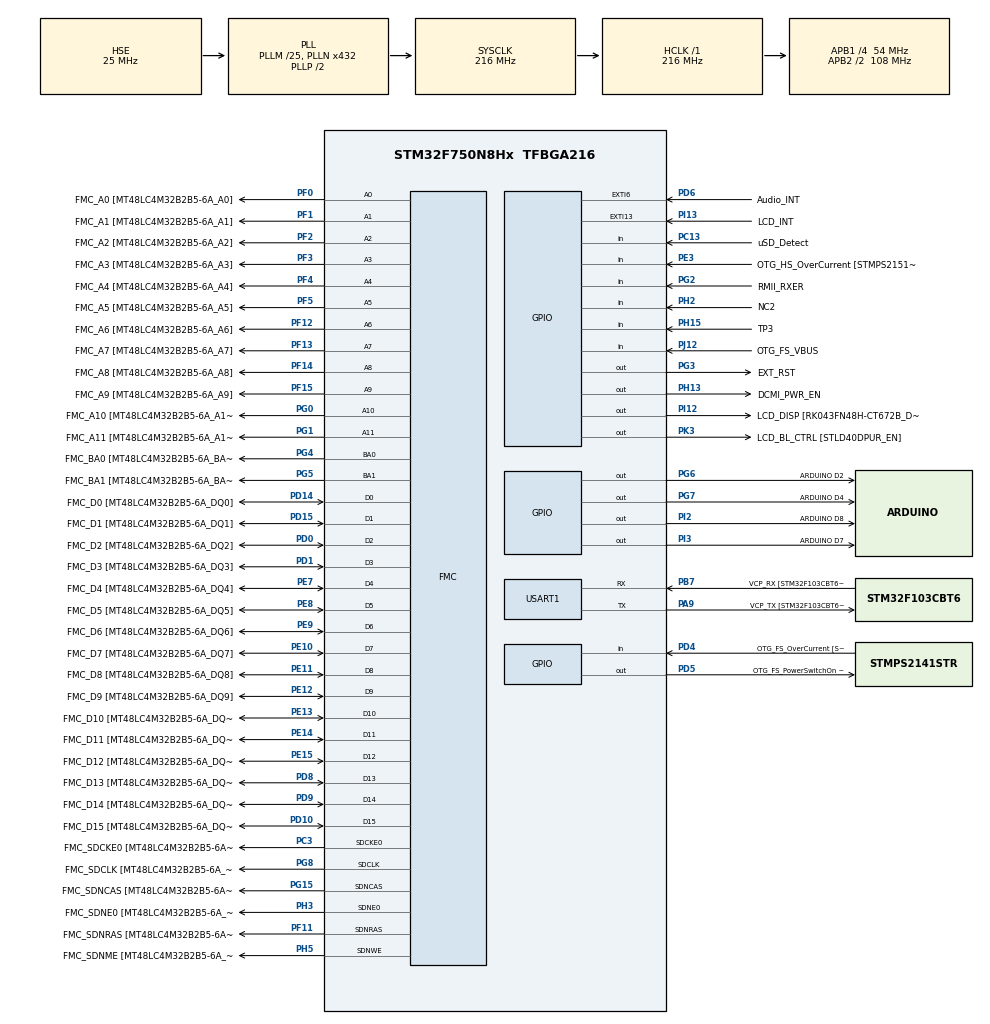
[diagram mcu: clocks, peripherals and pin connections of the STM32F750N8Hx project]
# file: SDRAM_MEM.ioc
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CORTEX_M7.CPU_DCache=Enabled
CORTEX_M7.CPU_ICache=Enabled
FMC.CASLatency1=FMC_SDRAM_CAS_LATENCY_3
FMC.ExitSelfRefreshDelay1=7
FMC.LoadToActiveDelay1=2
FMC.RCDDelay1=2
FMC.RPDelay1=2
FMC.RPDelay2=2
FMC.ReadBurst1=FMC_SDRAM_RBURST_ENABLE
FMC.ReadBurst2=FMC_SDRAM_RBURST_ENABLE
FMC.RowCycleDelay1=7
FMC.RowCycleDelay2=7
FMC.SDClockPeriod1=FMC_SDRAM_CLOCK_PERIOD_2
FMC.SDClockPeriod2=FMC_SDRAM_CLOCK_PERIOD_2
FMC.SelfRefreshTime1=4
FMC.WriteRecoveryTime1=3
Mcu.Family=STM32F7
Mcu.Name=STM32F750N8Hx
Mcu.Package=TFBGA216
NVIC.PriorityGroup=NVIC_PRIORITYGROUP_4
PA0/WKUP.GPIO_Label=ARDUINO A0
PA0/WKUP.GPIO_Mode=GPIO_MODE_ANALOG
PA0/WKUP.GPIO_PuPd=GPIO_NOPULL
PA0/WKUP.Signal=ADCx_IN0
PA1.GPIO_Label=RMII_REF_CLK [LAN8742A-CZ-TR_REFCLK0]
PA1.Signal=ETH_REF_CLK
PA10.GPIO_Label=OTG_FS_ID
PA10.Signal=USB_OTG_FS_ID
PA11.GPIO_Label=OTG_FS_N
PA11.Signal=USB_OTG_FS_DM
PA12.GPIO_Label=OTG_FS_P
PA12.Signal=USB_OTG_FS_DP
PA13.GPIO_Label=SWDIO
PA13.Signal=SYS_JTMS-SWDIO
PA14.GPIO_Label=SWCLK
PA14.Signal=SYS_JTCK-SWCLK
PA15.GPIO_Label=ARDUINO PWM/D9
PA15.GPIO_ModeDefaultPP=GPIO_MODE_AF_PP
PA15.GPIO_PuPd=GPIO_NOPULL
PA15.GPIO_Speed=GPIO_SPEED_FREQ_LOW
PA15.Signal=S_TIM2_CH1_ETR
PA2.GPIO_Label=RMII_MDIO [LAN8742A-CZ-TR_MDIO]
PA2.Signal=ETH_MDIO
PA3.GPIO_Label=ULPI_D0 [USB3320C-EZK_D0]
PA3.Signal=USB_OTG_HS_ULPI_D0
PA4.GPIO_Label=DCMI_HSYNC
PA4.Signal=DCMI_HSYNC
PA5.GPIO_Label=ULPI_CLK [USB3320C-EZK_CLKOUT]
PA5.Signal=USB_OTG_HS_ULPI_CK
PA6.Signal=DCMI_PIXCLK
PA7.GPIO_Label=RMII_CRS_DV [LAN8742A-CZ-TR_CRS_DV]
PA7.Signal=ETH_CRS_DV
PA8.GPIO_Label=ARDUINO PWM/D10
PA8.GPIO_ModeDefaultPP=GPIO_MODE_AF_PP
PA8.GPIO_PuPd=GPIO_NOPULL
PA8.GPIO_Speed=GPIO_SPEED_FREQ_LOW
PA8.Signal=S_TIM1_CH1
PA9.GPIO_Label=VCP_TX [STM32F103CBT6_PA3]
PA9.GPIO_PuPd=GPIO_NOPULL
PA9.GPIO_Speed=GPIO_SPEED_FREQ_LOW
PA9.Mode=Asynchronous
PA9.Signal=USART1_TX
PB0.GPIO_Label=ULPI_D1 [USB3320C-EZK_D1]
PB0.Signal=USB_OTG_HS_ULPI_D1
PB1.GPIO_Label=ULPI_D2 [USB3320C-EZK_D2]
PB1.Signal=USB_OTG_HS_ULPI_D2
PB10.GPIO_Label=ULPI_D3 [USB3320C-EZK_D3]
PB10.Signal=USB_OTG_HS_ULPI_D3
PB11.GPIO_Label=ULPI_D4 [USB3320C-EZK_D4]
PB11.Signal=USB_OTG_HS_ULPI_D4
PB12.GPIO_Label=ULPI_D5 [USB3320C-EZK_D5]
PB12.Signal=USB_OTG_HS_ULPI_D5
PB13.GPIO_Label=ULPI_D6 [USB3320C-EZK_D6]
PB13.Signal=USB_OTG_HS_ULPI_D6
PB14.GPIO_Label=ARDUINO MISO/D12
PB14.GPIO_Mode=GPIO_MODE_AF_PP
PB14.GPIO_PuPd=GPIO_NOPULL
PB14.GPIO_Speed=GPIO_SPEED_FREQ_LOW
PB14.Signal=SPI2_MISO
PB15.GPIO_Label=ARDUINO MOSI/PWM/D11
PB15.GPIO_Mode=GPIO_MODE_AF_PP
PB15.GPIO_PuPd=GPIO_NOPULL
PB15.GPIO_Speed=GPIO_SPEED_FREQ_LOW
PB15.Signal=SPI2_MOSI
PB2.Signal=QUADSPI_CLK
PB3.GPIO_Label=SWO
PB3.Signal=SYS_JTDO-SWO
PB4.GPIO_Label=ARDUINO PWM/D3
PB4.GPIO_ModeDefaultPP=GPIO_MODE_AF_PP
PB4.GPIO_PuPd=GPIO_NOPULL
PB4.GPIO_Speed=GPIO_SPEED_FREQ_LOW
PB4.Signal=S_TIM3_CH1
PB5.GPIO_Label=ULPI_D7 [USB3320C-EZK_D7]
PB5.Signal=USB_OTG_HS_ULPI_D7
PB6.GPIO_Label=QSPI_NCS [N25Q128A13EF840E_S]
PB6.Signal=QUADSPI_BK1_NCS
PB7.GPIO_Label=VCP_RX [STM32F103CBT6_PA2]
PB7.GPIO_PuPd=GPIO_NOPULL
PB7.GPIO_Speed=GPIO_SPEED_FREQ_LOW
PB7.Mode=Asynchronous
PB7.Signal=USART1_RX
PB8.GPIO_Label=ARDUINO SCL/D15
PB8.GPIO_Mode=GPIO_MODE_AF_OD
PB8.GPIO_Speed=GPIO_SPEED_FREQ_LOW
PB8.Signal=I2C1_SCL
PB9.GPIO_Label=ARDUINO SDA/D14
PB9.GPIO_Mode=GPIO_MODE_AF_OD
PB9.GPIO_Speed=GPIO_SPEED_FREQ_LOW
PB9.Signal=I2C1_SDA
PC0.GPIO_Label=ULPI_STP [USB3320C-EZK_STP]
PC0.Signal=USB_OTG_HS_ULPI_STP
PC1.GPIO_Label=RMII_MDC [LAN8742A-CZ-TR_MDC]
PC1.Signal=ETH_MDC
PC10.GPIO_Label=SDMMC_D2
PC10.Signal=SDMMC1_D2
PC11.GPIO_Label=SDMMC_D3
PC11.Signal=SDMMC1_D3
PC12.GPIO_Label=SDMMC_CK
PC12.Signal=SDMMC1_CK
PC13.GPIO_Label=uSD_Detect
PC13.Signal=GPIO_Input
PC14/OSC32_IN.GPIO_Label=RCC_OSC32_IN
PC14/OSC32_IN.Signal=RCC_OSC32_IN
PC15/OSC32_OUT.GPIO_Label=RCC_OSC32_OUT
PC15/OSC32_OUT.Signal=RCC_OSC32_OUT
PC2.GPIO_Label=ULPI_DIR [USB3320C-EZK_DIR]
PC2.Signal=USB_OTG_HS_ULPI_DIR
PC3.GPIO_Label=FMC_SDCKE0 [MT48LC4M32B2B5-6A_CKE]
PC3.Mode=SdramChipSelect1_1
PC3.Signal=FMC_SDCKE0
PC4.GPIO_Label=RMII_RXD0 [LAN8742A-CZ-TR_RXD0]
PC4.Signal=ETH_RXD0
PC5.GPIO_Label=RMII_RXD1 [LAN8742A-CZ-TR_RXD1]
PC5.Signal=ETH_RXD1
PC6.GPIO_Label=ARDUINO TX/D1
PC6.Signal=USART6_TX
PC7.GPIO_Label=ARDUINO RX/D0
PC7.Signal=USART6_RX
PC8.Signal=SDMMC1_D0
PC9.Signal=SDMMC1_D1
PD0.GPIO_Label=FMC_D2 [MT48LC4M32B2B5-6A_DQ2]
PD0.Signal=FMC_D2_DA2
PD1.GPIO_Label=FMC_D3 [MT48LC4M32B2B5-6A_DQ3]
PD1.Signal=FMC_D3_DA3
PD10.GPIO_Label=FMC_D15 [MT48LC4M32B2B5-6A_DQ15]
PD10.Signal=FMC_D15_DA15
PD11.GPIO_Label=QSPI_D0 [N25Q128A13EF840E_DQ0]
PD11.Signal=QUADSPI_BK1_IO0
PD12.GPIO_Label=QSPI_D1 [N25Q128A13EF840E_DQ1]
PD12.Signal=QUADSPI_BK1_IO1
PD13.GPIO_Label=QSPI_D3 [N25Q128A13EF840E_DQ3]
PD13.Signal=QUADSPI_BK1_IO3
PD14.GPIO_Label=FMC_D0 [MT48LC4M32B2B5-6A_DQ0]
PD14.Signal=FMC_D0_DA0
PD15.GPIO_Label=FMC_D1 [MT48LC4M32B2B5-6A_DQ1]
PD15.Signal=FMC_D1_DA1
PD2.GPIO_Label=SDMMC_D0
PD2.Signal=SDMMC1_CMD
PD3.GPIO_Label=DCMI_D5
PD3.Signal=DCMI_D5
PD4.GPIO_Label=OTG_FS_OverCurrent [STMPS2141STR_Fault]
PD4.Signal=GPIO_Input
PD5.GPIO_Label=OTG_FS_PowerSwitchOn [STMPS2141STR_EN]
PD5.PinState=GPIO_PIN_SET
PD5.Signal=GPIO_Output
PD6.GPIO_Label=Audio_INT
PD6.GPIO_ModeDefaultEXTI=GPIO_MODE_EVT_RISING
PD6.Signal=GPXTI6
PD7.GPIO_Label=SPDIF_RX0 [74LVC1G04SE_4]
PD7.Signal=SPDIFRX_IN0
PD8.GPIO_Label=FMC_D13 [MT48LC4M32B2B5-6A_DQ13]
PD8.Signal=FMC_D13_DA13
PD9.GPIO_Label=FMC_D14 [MT48LC4M32B2B5-6A_DQ14]
PD9.Signal=FMC_D14_DA14
PE0.GPIO_Label=FMC_NBL0 [MT48LC4M32B2B5-6A_DQM0]
PE0.Signal=FMC_NBL0
PE1.GPIO_Label=FMC_NBL1 [MT48LC4M32B2B5-6A_DQM1]
PE1.Signal=FMC_NBL1
PE10.GPIO_Label=FMC_D7 [MT48LC4M32B2B5-6A_DQ7]
PE10.Signal=FMC_D7_DA7
PE11.GPIO_Label=FMC_D8 [MT48LC4M32B2B5-6A_DQ8]
PE11.Signal=FMC_D8_DA8
PE12.GPIO_Label=FMC_D9 [MT48LC4M32B2B5-6A_DQ9]
PE12.Signal=FMC_D9_DA9
PE13.GPIO_Label=FMC_D10 [MT48LC4M32B2B5-6A_DQ10]
PE13.Signal=FMC_D10_DA10
PE14.GPIO_Label=FMC_D11 [MT48LC4M32B2B5-6A_DQ11]
PE14.Signal=FMC_D11_DA11
PE15.GPIO_Label=FMC_D12 [MT48LC4M32B2B5-6A_DQ12]
PE15.Signal=FMC_D12_DA12
PE2.GPIO_Label=QSPI_D2 [N25Q128A13EF840E_DQ2]
PE2.Signal=QUADSPI_BK1_IO2
PE3.GPIO_Label=OTG_HS_OverCurrent [STMPS2151STR_FAULT]
PE3.Signal=GPIO_Input
PE4.GPIO_Label=LCD_B0 [RK043FN48H-CT672B_B0]
PE4.Signal=LTDC_B0
PE5.GPIO_Label=DCMI_D6
PE5.Signal=DCMI_D6
PE6.GPIO_Label=DCMI_D7
PE6.Signal=DCMI_D7
PE7.GPIO_Label=FMC_D4 [MT48LC4M32B2B5-6A_DQ4]
PE7.Signal=FMC_D4_DA4
PE8.GPIO_Label=FMC_D5 [MT48LC4M32B2B5-6A_DQ5]
PE8.Signal=FMC_D5_DA5
PE9.GPIO_Label=FMC_D6 [MT48LC4M32B2B5-6A_DQ6]
PE9.Signal=FMC_D6_DA6
PF0.GPIO_Label=FMC_A0 [MT48LC4M32B2B5-6A_A0]
PF0.Signal=FMC_A0
PF1.GPIO_Label=FMC_A1 [MT48LC4M32B2B5-6A_A1]
PF1.Signal=FMC_A1
PF10.GPIO_Label=ARDUINO A1
PF10.GPIO_Mode=GPIO_MODE_ANALOG
PF10.GPIO_PuPd=GPIO_NOPULL
PF10.Signal=ADC3_IN8
PF11.GPIO_Label=FMC_SDNRAS [MT48LC4M32B2B5-6A_RAS]
PF11.Signal=FMC_SDNRAS
PF12.GPIO_Label=FMC_A6 [MT48LC4M32B2B5-6A_A6]
PF12.Signal=FMC_A6
PF13.GPIO_Label=FMC_A7 [MT48LC4M32B2B5-6A_A7]
PF13.Signal=FMC_A7
PF14.GPIO_Label=FMC_A8 [MT48LC4M32B2B5-6A_A8]
PF14.Signal=FMC_A8
PF15.GPIO_Label=FMC_A9 [MT48LC4M32B2B5-6A_A9]
PF15.Signal=FMC_A9
PF2.GPIO_Label=FMC_A2 [MT48LC4M32B2B5-6A_A2]
PF2.Signal=FMC_A2
PF3.GPIO_Label=FMC_A3 [MT48LC4M32B2B5-6A_A3]
PF3.Signal=FMC_A3
PF4.GPIO_Label=FMC_A4 [MT48LC4M32B2B5-6A_A4]
PF4.Signal=FMC_A4
PF5.GPIO_Label=FMC_A5 [MT48LC4M32B2B5-6A_A5]
PF5.Signal=FMC_A5
PF6.GPIO_Label=ARDUINO A5
PF6.GPIO_Mode=GPIO_MODE_ANALOG
PF6.GPIO_PuPd=GPIO_NOPULL
PF6.Signal=ADC3_IN4
PF7.GPIO_Label=ARDUINO A4
PF7.GPIO_Mode=GPIO_MODE_ANALOG
PF7.GPIO_PuPd=GPIO_NOPULL
PF7.Signal=ADC3_IN5
PF8.GPIO_Label=ARDUINO A3
PF8.GPIO_Mode=GPIO_MODE_ANALOG
PF8.GPIO_PuPd=GPIO_NOPULL
PF8.Signal=ADC3_IN6
PF9.GPIO_Label=ARDUINO A2
PF9.GPIO_Mode=GPIO_MODE_ANALOG
PF9.GPIO_PuPd=GPIO_NOPULL
PF9.Signal=ADC3_IN7
PG0.GPIO_Label=FMC_A10 [MT48LC4M32B2B5-6A_A10]
PG0.Signal=FMC_A10
PG1.GPIO_Label=FMC_A11 [MT48LC4M32B2B5-6A_A11]
PG1.Signal=FMC_A11
PG10.GPIO_Label=SAI2_SDB [WM8994ECS/R_ADCDAT1]
PG10.Signal=SAI2_SD_B
PG11.GPIO_Label=RMII_TX_EN [LAN8742A-CZ-TR_TXEN]
PG11.Signal=ETH_TX_EN
PG12.GPIO_Label=LCD_B4 [RK043FN48H-CT672B_B4]
PG12.Signal=LTDC_B4
PG13.GPIO_Label=RMII_TXD0 [LAN8742A-CZ-TR_TXD0]
PG13.Signal=ETH_TXD0
PG14.GPIO_Label=RMII_TXD1 [LAN8742A-CZ-TR_TXD1]
PG14.Signal=ETH_TXD1
PG15.GPIO_Label=FMC_SDNCAS [MT48LC4M32B2B5-6A_CAS]
PG15.Signal=FMC_SDNCAS
PG2.GPIO_Label=RMII_RXER
PG2.Signal=GPIO_Input
PG3.GPIO_Label=EXT_RST
PG3.Signal=GPIO_Output
PG4.GPIO_Label=FMC_BA0 [MT48LC4M32B2B5-6A_BA0]
PG4.Signal=FMC_A14_BA0
PG5.GPIO_Label=FMC_BA1 [MT48LC4M32B2B5-6A_BA1]
PG5.Signal=FMC_A15_BA1
PG6.GPIO_Label=ARDUINO D2
PG6.Signal=GPIO_Output
PG7.GPIO_Label=ARDUINO D4
PG7.Signal=GPIO_Output
PG8.GPIO_Label=FMC_SDCLK [MT48LC4M32B2B5-6A_CLK]
PG8.Signal=FMC_SDCLK
PG9.GPIO_Label=DCMI_VSYNC
PG9.Signal=DCMI_VSYNC
PH0/OSC_IN.GPIO_Label=OSC_25M [NZ2520SB-25.00M_OUT]
PH0/OSC_IN.Mode=HSE-External-Oscillator
PH0/OSC_IN.Signal=RCC_OSC_IN
PH1/OSC_OUT.Mode=HSE-External-Oscillator
PH1/OSC_OUT.Signal=RCC_OSC_OUT
PH10.GPIO_Label=DCMI_D1
PH10.Signal=DCMI_D1
PH11.GPIO_Label=DCMI_D2
PH11.Signal=DCMI_D2
PH12.GPIO_Label=DCMI_D3
PH12.Signal=DCMI_D3
PH13.GPIO_Label=DCMI_PWR_EN
PH13.Signal=GPIO_Output
PH14.GPIO_Label=DCMI_D4
PH14.Signal=DCMI_D4
PH15.GPIO_Label=TP3
PH15.Signal=GPIO_Input
PH2.GPIO_Label=NC2
PH2.Signal=GPIO_Input
PH3.GPIO_Label=FMC_SDNE0 [MT48LC4M32B2B5-6A_CS]
PH3.Mode=SdramChipSelect1_1
PH3.Signal=FMC_SDNE0
PH4.GPIO_Label=ULPI_NXT [USB3320C-EZK_NXT]
PH4.Signal=USB_OTG_HS_ULPI_NXT
PH5.GPIO_Label=FMC_SDNME [MT48LC4M32B2B5-6A_WE]
PH5.Signal=FMC_SDNWE
PH6.GPIO_Label=ARDUINO PWM/D6
PH6.Signal=S_TIM12_CH1
PH7.GPIO_Label=LCD_SCL [RK043FN48H-CT672B_SCL]
PH7.Signal=I2C3_SCL
PH8.GPIO_Label=LCD_SDA [RK043FN48H-CT672B_SDA]
PH8.Signal=I2C3_SDA
PH9.GPIO_Label=DCMI_D0
PH9.Signal=DCMI_D0
PI0.GPIO_Label=ARDUINO PWM/CS/D5
PI0.GPIO_ModeDefaultPP=GPIO_MODE_AF_PP
PI0.GPIO_PuPd=GPIO_NOPULL
PI0.GPIO_Speed=GPIO_SPEED_FREQ_LOW
PI0.Signal=S_TIM5_CH4
PI1.GPIO_Label=ARDUINO SCK/D13
PI1.GPIO_Mode=GPIO_MODE_AF_PP
PI1.GPIO_PuPd=GPIO_NOPULL
PI1.GPIO_Speed=GPIO_SPEED_FREQ_LOW
PI1.Signal=SPI2_SCK
PI10.GPIO_Label=LCD_HSYNC [RK043FN48H-CT672B_HSYNC]
PI10.Signal=LTDC_HSYNC
PI12.GPIO_Label=LCD_DISP [RK043FN48H-CT672B_DISP] 
PI12.Signal=GPIO_Output
PI13.GPIO_Label=LCD_INT
PI13.GPIO_ModeDefaultEXTI=GPIO_MODE_EVT_RISING
PI13.Signal=GPXTI13
PI14.GPIO_Label=LCD_CLK [RK043FN48H-CT672B_CLK]
PI14.Signal=LTDC_CLK
PI15.GPIO_Label=LCD_R0 [RK043FN48H-CT672B_R0]
PI15.Signal=LTDC_R0
PI2.GPIO_Label=ARDUINO D8
PI2.Signal=GPIO_Output
PI3.GPIO_Label=ARDUINO D7
PI3.Signal=GPIO_Output
PI4.GPIO_Label=SAI2_MCLKA [WM8994ECS/R_MCLK1]
PI4.Signal=SAI2_MCLK_A
PI5.GPIO_Label=SAI2_SCKA [WM8994ECS/R_BCLK1]
PI5.Signal=SAI2_SCK_A
PI6.GPIO_Label=SAI2_SDA [WM8994ECS/R_DACDAT1]
PI6.Signal=SAI2_SD_A
PI7.GPIO_Label=SAI2_FSA [WM8994ECS/R_LRCLK1]
PI7.Signal=SAI2_FS_A
PI8.GPIO_Label=NC1 [TP2]
PI8.Signal=RTC_TS
PI9.GPIO_Label=LCD_VSYNC [RK043FN48H-CT672B_VSYNC]
PI9.Signal=LTDC_VSYNC
PJ0.GPIO_Label=LCD_R1 [RK043FN48H-CT672B_R1]
PJ0.Signal=LTDC_R1
PJ1.GPIO_Label=LCD_R2 [RK043FN48H-CT672B_R2]
PJ1.Signal=LTDC_R2
PJ10.GPIO_Label=LCD_G3 [RK043FN48H-CT672B_G3]
PJ10.Signal=LTDC_G3
PJ11.GPIO_Label=LCD_G4 [RK043FN48H-CT672B_G4]
PJ11.Signal=LTDC_G4
PJ12.GPIO_Label=OTG_FS_VBUS
PJ12.Signal=GPIO_Input
PJ13.GPIO_Label=LCD_B1 [RK043FN48H-CT672B_B1]
PJ13.Signal=LTDC_B1
PJ14.GPIO_Label=LCD_B2 [RK043FN48H-CT672B_B2]
PJ14.Signal=LTDC_B2
PJ15.GPIO_Label=LCD_B3 [RK043FN48H-CT672B_B3]
PJ15.Signal=LTDC_B3
PJ2.GPIO_Label=LCD_R3 [RK043FN48H-CT672B_R3]
PJ2.Signal=LTDC_R3
PJ3.GPIO_Label=LCD_R4 [RK043FN48H-CT672B_R4]
PJ3.Signal=LTDC_R4
PJ4.GPIO_Label=LCD_R5 [RK043FN48H-CT672B_R5]
PJ4.Signal=LTDC_R5
PJ5.GPIO_Label=LCD_R6 [RK043FN48H-CT672B_R6]
PJ5.Signal=LTDC_R6
PJ6.GPIO_Label=LCD_R7 [RK043FN48H-CT672B_R7]
PJ6.Signal=LTDC_R7
PJ7.GPIO_Label=LCD_G0 [RK043FN48H-CT672B_G0]
PJ7.Signal=LTDC_G0
PJ8.GPIO_Label=LCD_G1 [RK043FN48H-CT672B_G1]
PJ8.Signal=LTDC_G1
PJ9.GPIO_Label=LCD_G2 [RK043FN48H-CT672B_G2]
PJ9.Signal=LTDC_G2
PK0.GPIO_Label=LCD_G5 [RK043FN48H-CT672B_G5]
PK0.Signal=LTDC_G5
PK1.GPIO_Label=LCD_G6 [RK043FN48H-CT672B_G6]
PK1.Signal=LTDC_G6
PK2.GPIO_Label=LCD_G7 [RK043FN48H-CT672B_G7]
PK2.Signal=LTDC_G7
PK3.GPIO_Label=LCD_BL_CTRL [STLD40DPUR_EN]
PK3.Signal=GPIO_Output
PK4.GPIO_Label=LCD_B5 [RK043FN48H-CT672B_B5]
PK4.Signal=LTDC_B5
PK5.GPIO_Label=LCD_B6 [RK043FN48H-CT672B_B6]
PK5.Signal=LTDC_B6
PK6.GPIO_Label=LCD_B7 [RK043FN48H-CT672B_B7]
PK6.Signal=LTDC_B7
PK7.GPIO_Label=LCD_DE [RK043FN48H-CT672B_DE]
PK7.Signal=LTDC_DE
ProjectManager.HeapSize=0x200
ProjectManager.StackSize=0x400
ProjectManager.TargetToolchain=STM32CubeIDE
RCC.AHBFreq_Value=216000000
RCC.APB1CLKDivider=RCC_HCLK_DIV4
RCC.APB1Freq_Value=54000000
RCC.APB1TimFreq_Value=108000000
RCC.APB2CLKDivider=RCC_HCLK_DIV2
RCC.APB2Freq_Value=108000000
RCC.APB2TimFreq_Value=216000000
RCC.CortexFreq_Value=216000000
RCC.FLatency=FLASH_LATENCY_7
RCC.HCLKFreq_Value=216000000
RCC.HSE_VALUE=25000000
RCC.HSI_VALUE=16000000
RCC.LSE_VALUE=32768
RCC.PLLM=25
RCC.PLLN=432
RCC.PLLSourceVirtual=RCC_PLLSOURCE_HSE
RCC.PWR_Regulator_Voltage_Scale=PWR_REGULATOR_VOLTAGE_SCALE1
RCC.SYSCLKFreq_VALUE=216000000
RCC.SYSCLKSource=RCC_SYSCLKSOURCE_PLLCLK
RCC.USBFreq_Value=216000000
RCC.VCOOutputFreq_Value=432000000
SH.ADCx_IN0.0=ADC3_IN0
SH.FMC_A0.0=FMC_A0,12b-sda1
SH.FMC_A1.0=FMC_A1,12b-sda1
SH.FMC_A10.0=FMC_A10,12b-sda1
SH.FMC_A11.0=FMC_A11,12b-sda1
SH.FMC_A14_BA0.0=FMC_BA0,FourSdramBanks1
SH.FMC_A15_BA1.0=FMC_BA1,FourSdramBanks1
SH.FMC_A2.0=FMC_A2,12b-sda1
SH.FMC_A3.0=FMC_A3,12b-sda1
SH.FMC_A4.0=FMC_A4,12b-sda1
SH.FMC_A5.0=FMC_A5,12b-sda1
SH.FMC_A6.0=FMC_A6,12b-sda1
SH.FMC_A7.0=FMC_A7,12b-sda1
SH.FMC_A8.0=FMC_A8,12b-sda1
SH.FMC_A9.0=FMC_A9,12b-sda1
SH.FMC_D0_DA0.0=FMC_D0,sd-16b-d1
SH.FMC_D10_DA10.0=FMC_D10,sd-16b-d1
SH.FMC_D11_DA11.0=FMC_D11,sd-16b-d1
SH.FMC_D12_DA12.0=FMC_D12,sd-16b-d1
SH.FMC_D13_DA13.0=FMC_D13,sd-16b-d1
SH.FMC_D14_DA14.0=FMC_D14,sd-16b-d1
SH.FMC_D15_DA15.0=FMC_D15,sd-16b-d1
SH.FMC_D1_DA1.0=FMC_D1,sd-16b-d1
SH.FMC_D2_DA2.0=FMC_D2,sd-16b-d1
SH.FMC_D3_DA3.0=FMC_D3,sd-16b-d1
SH.FMC_D4_DA4.0=FMC_D4,sd-16b-d1
SH.FMC_D5_DA5.0=FMC_D5,sd-16b-d1
SH.FMC_D6_DA6.0=FMC_D6,sd-16b-d1
SH.FMC_D7_DA7.0=FMC_D7,sd-16b-d1
SH.FMC_D8_DA8.0=FMC_D8,sd-16b-d1
SH.FMC_D9_DA9.0=FMC_D9,sd-16b-d1
SH.FMC_NBL0.0=FMC_NBL0
SH.FMC_NBL1.0=FMC_NBL1
SH.FMC_SDCLK.0=FMC_SDCLK,12b-sda1
SH.FMC_SDNCAS.0=FMC_SDNCAS,12b-sda1
SH.FMC_SDNRAS.0=FMC_SDNRAS,12b-sda1
SH.FMC_SDNWE.0=FMC_SDNWE,12b-sda1
SH.S_TIM12_CH1.0=TIM12_CH1
SH.S_TIM1_CH1.0=TIM1_CH1
SH.S_TIM2_CH1_ETR.0=TIM2_CH1
SH.S_TIM3_CH1.0=TIM3_CH1
SH.S_TIM5_CH4.0=TIM5_CH4
USART1.VirtualMode-Asynchronous=VM_ASYNC
board=STM32F7508-DK

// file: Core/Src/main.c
/* USER CODE END Header */
/* USER CODE BEGIN Includes */
#include "main.h"
#include "mt48lc4m32b2.h"
#include "string.h"
/* USER CODE END Includes */

SDRAM_HandleTypeDef hsdram1;
UART_HandleTypeDef huart1;

void SystemClock_Config(void);
static void MX_GPIO_Init(void);
static void MX_FMC_Init(void);
static void MX_USART1_UART_Init(void);

/* USER CODE BEGIN PFP */
int _write(int file, char *ptr, int len);

/* USER CODE END PFP */

/* USER CODE BEGIN 0 */
int _write(int file, char *ptr, int len)
{
	HAL_UART_Transmit(&huart1, ptr, len * sizeof(char), HAL_MAX_DELAY);
	return len;
}

/* USER CODE BEGIN PFP */

/* USER CODE END PFP */

/* Private user code ---------------------------------------------------------*/
/* USER CODE BEGIN 0 */
#define EXT_RAM_SECTION __attribute__((section(".external_ram")))
EXT_RAM_SECTION uint32_t extRamBuffer[1024*1024*2];
#define NUM_BUFFER (0x1000000/(BUFFER_SIZE*4))//16MB
#define SDRAM_ADD 0xC0000000
#define BUFFER_SIZE ((uint32_t)0x1000)

uint32_t wdata[BUFFER_SIZE];
uint32_t rdata[BUFFER_SIZE];
uint32_t buffer[BUFFER_SIZE];

//Static variables
__IO uint32_t uwWriteReadStatus=0;

//counter index;
uint32_t uwIndex=0;
uint32_t ptr=0;

static void Fill_Buffer(uint32_t *pBuffer,uint32_t uwBufferLength,uint32_t uwOffeset);
/* USER CODE END 0 */

int main(void)
{
	/* Enable I-Cache---------------------------------------------------------*/
	SCB_EnableICache();

	/* Enable D-Cache---------------------------------------------------------*/
	SCB_EnableDCache();

	/* MCU Configuration--------------------------------------------------------*/

	/* Reset of all peripherals, Initializes the Flash interface and the Systick. */
	HAL_Init();

	/* Configure the system clock */
	SystemClock_Config();

	/* Initialize all configured peripherals */
	MX_GPIO_Init();
	MX_FMC_Init();
	MX_USART1_UART_Init();
	printf("SDRAM TEST Demo...\r\n");
	/* USER CODE BEGIN 2 */
	Fill_Buffer(wdata,BUFFER_SIZE,0);
	printf(" buffer size %x\r\n", BUFFER_SIZE);
	printf(" No. of buffers to write 200\r\n");
	for(int i=0; i <0x250;i++)
	{
	  for(uwIndex=0;uwIndex < BUFFER_SIZE;uwIndex++)
	  {
		  extRamBuffer[i*BUFFER_SIZE+uwIndex]=wdata[uwIndex];
		 //printf("Memory write %x\r\n", uwIndex);
	  }
	  for(uwIndex=0;uwIndex < BUFFER_SIZE;uwIndex++)
	  {
		  rdata[uwIndex]= extRamBuffer[i*BUFFER_SIZE+uwIndex];
	 	 // printf("Memory read  %x\r\n at %x", &rdata[uwIndex],i);
		  buffer[uwIndex] = uwIndex % 256;
		  int error = 0;
		  if (buffer[uwIndex] != (uwIndex % 256))
		  {
			  error = 1;
			  break;
		  }
		  if (error)
		  {
			  printf("Memory Read Error at %x\r\n", uwIndex);
		  }
		  else{
			  printf("Completed\r\n" );
		  }

	  }

	}

	while (1)
	{

	}

	 /*for(int i=0;i <NUM_BUFFER;i++)
	{

		  for(uwIndex=0;uwIndex < BUFFER_SIZE;uwIndex++)

	  	  {

		 // extRamBuffer[i*BUFFER_SIZE+uwIndex]=wdata[uwIndex];

	      }

	  //READ DATA FROM SDARM MEMORY
		 for(uwIndex=0;uwIndex < BUFFER_SIZE;uwIndex++)
	   	  {
		   rdata[uwIndex]= extRamBuffer[i*BUFFER_SIZE+uwIndex];

	   	  }

	   	   	      		//checking data integrity
	   for(uwIndex=0;(uwIndex < BUFFER_SIZE) && uwWriteReadStatus==0;uwIndex++)
	   	  {
	   	   if(rdata[uwIndex]!=wdata[uwIndex])
	   	   	 {
	   	   	  uwWriteReadStatus++;
	   	   	 }

	   	  }

	}*/
}

static void Fill_Buffer(uint32_t *pBuffer,uint32_t uwBufferLength,uint32_t uwOffset){
	uint32_t tmpIndex=0;
	for(tmpIndex=0;tmpIndex < uwBufferLength;tmpIndex++)
	{
		pBuffer[tmpIndex]=tmpIndex+uwOffset;
	}
}

void SystemClock_Config(void)
{
  RCC_OscInitTypeDef RCC_OscInitStruct = {0};
  RCC_ClkInitTypeDef RCC_ClkInitStruct = {0};

  /** Configure the main internal regulator output voltage
  */
  __HAL_RCC_PWR_CLK_ENABLE();
  __HAL_PWR_VOLTAGESCALING_CONFIG(PWR_REGULATOR_VOLTAGE_SCALE1);
  /** Initializes the RCC Oscillators according to the specified parameters
  * in the RCC_OscInitTypeDef structure.
  */
  RCC_OscInitStruct.OscillatorType = RCC_OSCILLATORTYPE_HSE;
  RCC_OscInitStruct.HSEState = RCC_HSE_ON;
  RCC_OscInitStruct.PLL.PLLState = RCC_PLL_ON;
  RCC_OscInitStruct.PLL.PLLSource = RCC_PLLSOURCE_HSE;
  RCC_OscInitStruct.PLL.PLLM = 25;
  RCC_OscInitStruct.PLL.PLLN = 432;
  RCC_OscInitStruct.PLL.PLLP = RCC_PLLP_DIV2;
  RCC_OscInitStruct.PLL.PLLQ = 2;
  if (HAL_RCC_OscConfig(&RCC_OscInitStruct) != HAL_OK)
  {
    Error_Handler();
  }
  /** Activate the Over-Drive mode
  */
  if (HAL_PWREx_EnableOverDrive() != HAL_OK)
  {
    Error_Handler();
  }
  /** Initializes the CPU, AHB and APB buses clocks
  */
  RCC_ClkInitStruct.ClockType = RCC_CLOCKTYPE_HCLK|RCC_CLOCKTYPE_SYSCLK
                              |RCC_CLOCKTYPE_PCLK1|RCC_CLOCKTYPE_PCLK2;
  RCC_ClkInitStruct.SYSCLKSource = RCC_SYSCLKSOURCE_PLLCLK;
  RCC_ClkInitStruct.AHBCLKDivider = RCC_SYSCLK_DIV1;
  RCC_ClkInitStruct.APB1CLKDivider = RCC_HCLK_DIV4;
  RCC_ClkInitStruct.APB2CLKDivider = RCC_HCLK_DIV2;

  if (HAL_RCC_ClockConfig(&RCC_ClkInitStruct, FLASH_LATENCY_7) != HAL_OK)
  {
    Error_Handler();
  }
}

static void MX_USART1_UART_Init(void)
{

  huart1.Instance = USART1;
  huart1.Init.BaudRate = 115200;
  huart1.Init.WordLength = UART_WORDLENGTH_8B;
  huart1.Init.StopBits = UART_STOPBITS_1;
  huart1.Init.Parity = UART_PARITY_NONE;
  huart1.Init.Mode = UART_MODE_TX_RX;
  huart1.Init.HwFlowCtl = UART_HWCONTROL_NONE;
  huart1.Init.OverSampling = UART_OVERSAMPLING_16;
  huart1.Init.OneBitSampling = UART_ONE_BIT_SAMPLE_DISABLE;
  huart1.AdvancedInit.AdvFeatureInit = UART_ADVFEATURE_NO_INIT;
  if (HAL_UART_Init(&huart1) != HAL_OK)
  {
    Error_Handler();
  }

}
/* FMC initialization function */
static void MX_FMC_Init(void)
{

  FMC_SDRAM_TimingTypeDef SdramTiming = {0};

  /** Perform the SDRAM1 memory initialization sequence
  */
  hsdram1.Instance = FMC_SDRAM_DEVICE;
  /* hsdram1.Init */
  hsdram1.Init.SDBank = FMC_SDRAM_BANK1;
  hsdram1.Init.ColumnBitsNumber = FMC_SDRAM_COLUMN_BITS_NUM_8;
  hsdram1.Init.RowBitsNumber = FMC_SDRAM_ROW_BITS_NUM_12;
  hsdram1.Init.MemoryDataWidth = FMC_SDRAM_MEM_BUS_WIDTH_16;
  hsdram1.Init.InternalBankNumber = FMC_SDRAM_INTERN_BANKS_NUM_4;
  hsdram1.Init.CASLatency = FMC_SDRAM_CAS_LATENCY_3;
  hsdram1.Init.WriteProtection = FMC_SDRAM_WRITE_PROTECTION_DISABLE;
  hsdram1.Init.SDClockPeriod = FMC_SDRAM_CLOCK_PERIOD_2;
  hsdram1.Init.ReadBurst = FMC_SDRAM_RBURST_ENABLE;
  hsdram1.Init.ReadPipeDelay = FMC_SDRAM_RPIPE_DELAY_0;
  /* SdramTiming */
  SdramTiming.LoadToActiveDelay = 2;
  SdramTiming.ExitSelfRefreshDelay = 7;
  SdramTiming.SelfRefreshTime = 4;
  SdramTiming.RowCycleDelay = 7;
  SdramTiming.WriteRecoveryTime = 3;
  SdramTiming.RPDelay = 2;
  SdramTiming.RCDDelay = 2;

  if (HAL_SDRAM_Init(&hsdram1, &SdramTiming) != HAL_OK)
  {
    Error_Handler( );
  }

  /* USER CODE BEGIN FMC_Init 2 */

  SDRAM_Context_t SDRAM_FMC;
  SDRAM_FMC.TargetBank      = FMC_SDRAM_CMD_TARGET_BANK1;  // changeable
  SDRAM_FMC.RefreshMode     = MT48LC4M32B2_AUTOREFRESH_MODE_CMD;
  SDRAM_FMC.RefreshRate     = REFRESH_COUNT;
  SDRAM_FMC.BurstLength     = MT48LC4M32B2_BURST_LENGTH_1;
  SDRAM_FMC.BurstType       = MT48LC4M32B2_BURST_TYPE_SEQUENTIAL;
  SDRAM_FMC.CASLatency      = MT48LC4M32B2_CAS_LATENCY_3;   // changeable
  SDRAM_FMC.OperationMode   = MT48LC4M32B2_OPERATING_MODE_STANDARD;
  SDRAM_FMC.WriteBurstMode  = MT48LC4M32B2_WRITEBURST_MODE_SINGLE;

  if (MT48LC4M32B2_Init(&hsdram1, &SDRAM_FMC)!=MT48LC4M32B2_OK)
  {
	  Error_Handler();
  }

  /* USER CODE END FMC_Init 2 */
}

static void MX_GPIO_Init(void)
{
  GPIO_InitTypeDef GPIO_InitStruct = {0};

  /* GPIO Ports Clock Enable */
  __HAL_RCC_GPIOE_CLK_ENABLE();
  __HAL_RCC_GPIOG_CLK_ENABLE();
  __HAL_RCC_GPIOB_CLK_ENABLE();
  __HAL_RCC_GPIOD_CLK_ENABLE();
  __HAL_RCC_GPIOC_CLK_ENABLE();
  __HAL_RCC_GPIOA_CLK_ENABLE();
  __HAL_RCC_GPIOJ_CLK_ENABLE();
  __HAL_RCC_GPIOI_CLK_ENABLE();
  __HAL_RCC_GPIOK_CLK_ENABLE();
  __HAL_RCC_GPIOF_CLK_ENABLE();
  __HAL_RCC_GPIOH_CLK_ENABLE();

  /*Configure GPIO pin Output Level */
  HAL_GPIO_WritePin(OTG_FS_PowerSwitchOn_GPIO_Port, OTG_FS_PowerSwitchOn_Pin, GPIO_PIN_SET);

  /*Configure GPIO pin Output Level */
  HAL_GPIO_WritePin(GPIOI, ARDUINO_D7_Pin|ARDUINO_D8_Pin|LCD_DISP_Pin, GPIO_PIN_RESET);

  /*Configure GPIO pin Output Level */
  HAL_GPIO_WritePin(LCD_BL_CTRL_GPIO_Port, LCD_BL_CTRL_Pin, GPIO_PIN_RESET);

  /*Configure GPIO pin Output Level */
  HAL_GPIO_WritePin(DCMI_PWR_EN_GPIO_Port, DCMI_PWR_EN_Pin, GPIO_PIN_RESET);

  /*Configure GPIO pin Output Level */
  HAL_GPIO_WritePin(GPIOG, ARDUINO_D4_Pin|ARDUINO_D2_Pin|EXT_RST_Pin, GPIO_PIN_RESET);

  /*Configure GPIO pin : LCD_B0_Pin */
  GPIO_InitStruct.Pin = LCD_B0_Pin;
  GPIO_InitStruct.Mode = GPIO_MODE_AF_PP;
  GPIO_InitStruct.Pull = GPIO_NOPULL;
  GPIO_InitStruct.Speed = GPIO_SPEED_FREQ_LOW;
  GPIO_InitStruct.Alternate = GPIO_AF14_LTDC;
  HAL_GPIO_Init(LCD_B0_GPIO_Port, &GPIO_InitStruct);

  /*Configure GPIO pin : OTG_HS_OverCurrent_Pin */
  GPIO_InitStruct.Pin = OTG_HS_OverCurrent_Pin;
  GPIO_InitStruct.Mode = GPIO_MODE_INPUT;
  GPIO_InitStruct.Pull = GPIO_NOPULL;
  HAL_GPIO_Init(OTG_HS_OverCurrent_GPIO_Port, &GPIO_InitStruct);

  /*Configure GPIO pin : QSPI_D2_Pin */
  GPIO_InitStruct.Pin = QSPI_D2_Pin;
  GPIO_InitStruct.Mode = GPIO_MODE_AF_PP;
  GPIO_InitStruct.Pull = GPIO_NOPULL;
  GPIO_InitStruct.Speed = GPIO_SPEED_FREQ_VERY_HIGH;
  GPIO_InitStruct.Alternate = GPIO_AF9_QUADSPI;
  HAL_GPIO_Init(QSPI_D2_GPIO_Port, &GPIO_InitStruct);

  /*Configure GPIO pins : RMII_TXD1_Pin RMII_TXD0_Pin RMII_TX_EN_Pin */
  GPIO_InitStruct.Pin = RMII_TXD1_Pin|RMII_TXD0_Pin|RMII_TX_EN_Pin;
  GPIO_InitStruct.Mode = GPIO_MODE_AF_PP;
  GPIO_InitStruct.Pull = GPIO_NOPULL;
  GPIO_InitStruct.Speed = GPIO_SPEED_FREQ_VERY_HIGH;
  GPIO_InitStruct.Alternate = GPIO_AF11_ETH;
  HAL_GPIO_Init(GPIOG, &GPIO_InitStruct);

  /*Configure GPIO pins : ARDUINO_SCL_D15_Pin ARDUINO_SDA_D14_Pin */
  GPIO_InitStruct.Pin = ARDUINO_SCL_D15_Pin|ARDUINO_SDA_D14_Pin;
  GPIO_InitStruct.Mode = GPIO_MODE_AF_OD;
  GPIO_InitStruct.Pull = GPIO_NOPULL;
  GPIO_InitStruct.Speed = GPIO_SPEED_FREQ_LOW;
  GPIO_InitStruct.Alternate = GPIO_AF4_I2C1;
  HAL_GPIO_Init(GPIOB, &GPIO_InitStruct);

  /*Configure GPIO pins : ULPI_D7_Pin ULPI_D6_Pin ULPI_D5_Pin ULPI_D3_Pin
                           ULPI_D2_Pin ULPI_D1_Pin ULPI_D4_Pin */
  GPIO_InitStruct.Pin = ULPI_D7_Pin|ULPI_D6_Pin|ULPI_D5_Pin|ULPI_D3_Pin
                          |ULPI_D2_Pin|ULPI_D1_Pin|ULPI_D4_Pin;
  GPIO_InitStruct.Mode = GPIO_MODE_AF_PP;
  GPIO_InitStruct.Pull = GPIO_NOPULL;
  GPIO_InitStruct.Speed = GPIO_SPEED_FREQ_VERY_HIGH;
  GPIO_InitStruct.Alternate = GPIO_AF10_OTG_HS;
  HAL_GPIO_Init(GPIOB, &GPIO_InitStruct);

  /*Configure GPIO pin : ARDUINO_PWM_D3_Pin */
  GPIO_InitStruct.Pin = ARDUINO_PWM_D3_Pin;
  GPIO_InitStruct.Mode = GPIO_MODE_AF_PP;
  GPIO_InitStruct.Pull = GPIO_NOPULL;
  GPIO_InitStruct.Speed = GPIO_SPEED_FREQ_LOW;
  GPIO_InitStruct.Alternate = GPIO_AF2_TIM3;
  HAL_GPIO_Init(ARDUINO_PWM_D3_GPIO_Port, &GPIO_InitStruct);

  /*Configure GPIO pin : SPDIF_RX0_Pin */
  GPIO_InitStruct.Pin = SPDIF_RX0_Pin;
  GPIO_InitStruct.Mode = GPIO_MODE_AF_PP;
  GPIO_InitStruct.Pull = GPIO_NOPULL;
  GPIO_InitStruct.Speed = GPIO_SPEED_FREQ_LOW;
  GPIO_InitStruct.Alternate = GPIO_AF8_SPDIFRX;
  HAL_GPIO_Init(SPDIF_RX0_GPIO_Port, &GPIO_InitStruct);

  /*Configure GPIO pins : SDMMC_CK_Pin SDMMC_D3_Pin SDMMC_D2_Pin PC9
                           PC8 */
  GPIO_InitStruct.Pin = SDMMC_CK_Pin|SDMMC_D3_Pin|SDMMC_D2_Pin|GPIO_PIN_9
                          |GPIO_PIN_8;
  GPIO_InitStruct.Mode = GPIO_MODE_AF_PP;
  GPIO_InitStruct.Pull = GPIO_NOPULL;
  GPIO_InitStruct.Speed = GPIO_SPEED_FREQ_VERY_HIGH;
  GPIO_InitStruct.Alternate = GPIO_AF12_SDMMC1;
  HAL_GPIO_Init(GPIOC, &GPIO_InitStruct);

  /*Configure GPIO pin : ARDUINO_PWM_D9_Pin */
  GPIO_InitStruct.Pin = ARDUINO_PWM_D9_Pin;
  GPIO_InitStruct.Mode = GPIO_MODE_AF_PP;
  GPIO_InitStruct.Pull = GPIO_NOPULL;
  GPIO_InitStruct.Speed = GPIO_SPEED_FREQ_LOW;
  GPIO_InitStruct.Alternate = GPIO_AF1_TIM2;
  HAL_GPIO_Init(ARDUINO_PWM_D9_GPIO_Port, &GPIO_InitStruct);

  /*Configure GPIO pins : DCMI_D6_Pin DCMI_D7_Pin */
  GPIO_InitStruct.Pin = DCMI_D6_Pin|DCMI_D7_Pin;
  GPIO_InitStruct.Mode = GPIO_MODE_AF_PP;
  GPIO_InitStruct.Pull = GPIO_NOPULL;
  GPIO_InitStruct.Speed = GPIO_SPEED_FREQ_LOW;
  GPIO_InitStruct.Alternate = GPIO_AF13_DCMI;
  HAL_GPIO_Init(GPIOE, &GPIO_InitStruct);

  /*Configure GPIO pin : VCP_RX_Pin */
  GPIO_InitStruct.Pin = VCP_RX_Pin;
  GPIO_InitStruct.Mode = GPIO_MODE_AF_PP;
  GPIO_InitStruct.Pull = GPIO_NOPULL;
  GPIO_InitStruct.Speed = GPIO_SPEED_FREQ_LOW;
  GPIO_InitStruct.Alternate = GPIO_AF7_USART1;
  HAL_GPIO_Init(VCP_RX_GPIO_Port, &GPIO_InitStruct);

  /*Configure GPIO pin : QSPI_NCS_Pin */
  GPIO_InitStruct.Pin = QSPI_NCS_Pin;
  GPIO_InitStruct.Mode = GPIO_MODE_AF_PP;
  GPIO_InitStruct.Pull = GPIO_NOPULL;
  GPIO_InitStruct.Speed = GPIO_SPEED_FREQ_VERY_HIGH;
  GPIO_InitStruct.Alternate = GPIO_AF10_QUADSPI;
  HAL_GPIO_Init(QSPI_NCS_GPIO_Port, &GPIO_InitStruct);

  /*Configure GPIO pins : LCD_B1_Pin LCD_B2_Pin LCD_B3_Pin LCD_G4_Pin
                           LCD_G1_Pin LCD_G3_Pin LCD_G0_Pin LCD_G2_Pin
                           LCD_R7_Pin LCD_R5_Pin LCD_R6_Pin LCD_R4_Pin
                           LCD_R3_Pin LCD_R1_Pin LCD_R2_Pin */
  GPIO_InitStruct.Pin = LCD_B1_Pin|LCD_B2_Pin|LCD_B3_Pin|LCD_G4_Pin
                          |LCD_G1_Pin|LCD_G3_Pin|LCD_G0_Pin|LCD_G2_Pin
                          |LCD_R7_Pin|LCD_R5_Pin|LCD_R6_Pin|LCD_R4_Pin
                          |LCD_R3_Pin|LCD_R1_Pin|LCD_R2_Pin;
  GPIO_InitStruct.Mode = GPIO_MODE_AF_PP;
  GPIO_InitStruct.Pull = GPIO_NOPULL;
  GPIO_InitStruct.Speed = GPIO_SPEED_FREQ_LOW;
  GPIO_InitStruct.Alternate = GPIO_AF14_LTDC;
  HAL_GPIO_Init(GPIOJ, &GPIO_InitStruct);

  /*Configure GPIO pin : OTG_FS_VBUS_Pin */
  GPIO_InitStruct.Pin = OTG_FS_VBUS_Pin;
  GPIO_InitStruct.Mode = GPIO_MODE_INPUT;
  GPIO_InitStruct.Pull = GPIO_NOPULL;
  HAL_GPIO_Init(OTG_FS_VBUS_GPIO_Port, &GPIO_InitStruct);

  /*Configure GPIO pin : Audio_INT_Pin */
  GPIO_InitStruct.Pin = Audio_INT_Pin;
  GPIO_InitStruct.Mode = GPIO_MODE_EVT_RISING;
  GPIO_InitStruct.Pull = GPIO_NOPULL;
  HAL_GPIO_Init(Audio_INT_GPIO_Port, &GPIO_InitStruct);

  /*Configure GPIO pins : OTG_FS_P_Pin OTG_FS_N_Pin OTG_FS_ID_Pin */
  GPIO_InitStruct.Pin = OTG_FS_P_Pin|OTG_FS_N_Pin|OTG_FS_ID_Pin;
  GPIO_InitStruct.Mode = GPIO_MODE_AF_PP;
  GPIO_InitStruct.Pull = GPIO_NOPULL;
  GPIO_InitStruct.Speed = GPIO_SPEED_FREQ_VERY_HIGH;
  GPIO_InitStruct.Alternate = GPIO_AF10_OTG_FS;
  HAL_GPIO_Init(GPIOA, &GPIO_InitStruct);

  /*Configure GPIO pins : SAI2_MCLKA_Pin SAI2_SCKA_Pin SAI2_FSA_Pin SAI2_SDA_Pin */
  GPIO_InitStruct.Pin = SAI2_MCLKA_Pin|SAI2_SCKA_Pin|SAI2_FSA_Pin|SAI2_SDA_Pin;
  GPIO_InitStruct.Mode = GPIO_MODE_AF_PP;
  GPIO_InitStruct.Pull = GPIO_NOPULL;
  GPIO_InitStruct.Speed = GPIO_SPEED_FREQ_LOW;
  GPIO_InitStruct.Alternate = GPIO_AF10_SAI2;
  HAL_GPIO_Init(GPIOI, &GPIO_InitStruct);

  /*Configure GPIO pins : LCD_DE_Pin LCD_B7_Pin LCD_B6_Pin LCD_B5_Pin
                           LCD_G6_Pin LCD_G7_Pin LCD_G5_Pin */
  GPIO_InitStruct.Pin = LCD_DE_Pin|LCD_B7_Pin|LCD_B6_Pin|LCD_B5_Pin
                          |LCD_G6_Pin|LCD_G7_Pin|LCD_G5_Pin;
  GPIO_InitStruct.Mode = GPIO_MODE_AF_PP;
  GPIO_InitStruct.Pull = GPIO_NOPULL;
  GPIO_InitStruct.Speed = GPIO_SPEED_FREQ_LOW;
  GPIO_InitStruct.Alternate = GPIO_AF14_LTDC;
  HAL_GPIO_Init(GPIOK, &GPIO_InitStruct);

  /*Configure GPIO pin : LCD_B4_Pin */
  GPIO_InitStruct.Pin = LCD_B4_Pin;
  GPIO_InitStruct.Mode = GPIO_MODE_AF_PP;
  GPIO_InitStruct.Pull = GPIO_NOPULL;
  GPIO_InitStruct.Speed = GPIO_SPEED_FREQ_LOW;
  GPIO_InitStruct.Alternate = GPIO_AF9_LTDC;
  HAL_GPIO_Init(LCD_B4_GPIO_Port, &GPIO_InitStruct);

  /*Configure GPIO pin : SAI2_SDB_Pin */
  GPIO_InitStruct.Pin = SAI2_SDB_Pin;
  GPIO_InitStruct.Mode = GPIO_MODE_AF_PP;
  GPIO_InitStruct.Pull = GPIO_NOPULL;
  GPIO_InitStruct.Speed = GPIO_SPEED_FREQ_LOW;
  GPIO_InitStruct.Alternate = GPIO_AF10_SAI2;
  HAL_GPIO_Init(SAI2_SDB_GPIO_Port, &GPIO_InitStruct);

  /*Configure GPIO pin : OTG_FS_PowerSwitchOn_Pin */
  GPIO_InitStruct.Pin = OTG_FS_PowerSwitchOn_Pin;
  GPIO_InitStruct.Mode = GPIO_MODE_OUTPUT_PP;
  GPIO_InitStruct.Pull = GPIO_NOPULL;
  GPIO_InitStruct.Speed = GPIO_SPEED_FREQ_LOW;
  HAL_GPIO_Init(OTG_FS_PowerSwitchOn_GPIO_Port, &GPIO_InitStruct);

  /*Configure GPIO pin : DCMI_D5_Pin */
  GPIO_InitStruct.Pin = DCMI_D5_Pin;
  GPIO_InitStruct.Mode = GPIO_MODE_AF_PP;
  GPIO_InitStruct.Pull = GPIO_NOPULL;
  GPIO_InitStruct.Speed = GPIO_SPEED_FREQ_LOW;
  GPIO_InitStruct.Alternate = GPIO_AF13_DCMI;
  HAL_GPIO_Init(DCMI_D5_GPIO_Port, &GPIO_InitStruct);

  /*Configure GPIO pins : ARDUINO_D7_Pin ARDUINO_D8_Pin LCD_DISP_Pin */
  GPIO_InitStruct.Pin = ARDUINO_D7_Pin|ARDUINO_D8_Pin|LCD_DISP_Pin;
  GPIO_InitStruct.Mode = GPIO_MODE_OUTPUT_PP;
  GPIO_InitStruct.Pull = GPIO_NOPULL;
  GPIO_InitStruct.Speed = GPIO_SPEED_FREQ_LOW;
  HAL_GPIO_Init(GPIOI, &GPIO_InitStruct);

  /*Configure GPIO pin : uSD_Detect_Pin */
  GPIO_InitStruct.Pin = uSD_Detect_Pin;
  GPIO_InitStruct.Mode = GPIO_MODE_INPUT;
  GPIO_InitStruct.Pull = GPIO_NOPULL;
  HAL_GPIO_Init(uSD_Detect_GPIO_Port, &GPIO_InitStruct);

  /*Configure GPIO pins : LCD_HSYNC_Pin LCD_VSYNC_Pin LCD_R0_Pin LCD_CLK_Pin */
  GPIO_InitStruct.Pin = LCD_HSYNC_Pin|LCD_VSYNC_Pin|LCD_R0_Pin|LCD_CLK_Pin;
  GPIO_InitStruct.Mode = GPIO_MODE_AF_PP;
  GPIO_InitStruct.Pull = GPIO_NOPULL;
  GPIO_InitStruct.Speed = GPIO_SPEED_FREQ_LOW;
  GPIO_InitStruct.Alternate = GPIO_AF14_LTDC;
  HAL_GPIO_Init(GPIOI, &GPIO_InitStruct);

  /*Configure GPIO pin : LCD_BL_CTRL_Pin */
  GPIO_InitStruct.Pin = LCD_BL_CTRL_Pin;
  GPIO_InitStruct.Mode = GPIO_MODE_OUTPUT_PP;
  GPIO_InitStruct.Pull = GPIO_NOPULL;
  GPIO_InitStruct.Speed = GPIO_SPEED_FREQ_LOW;
  HAL_GPIO_Init(LCD_BL_CTRL_GPIO_Port, &GPIO_InitStruct);

  /*Configure GPIO pin : DCMI_VSYNC_Pin */
  GPIO_InitStruct.Pin = DCMI_VSYNC_Pin;
  GPIO_InitStruct.Mode = GPIO_MODE_AF_PP;
  GPIO_InitStruct.Pull = GPIO_NOPULL;
  GPIO_InitStruct.Speed = GPIO_SPEED_FREQ_LOW;
  GPIO_InitStruct.Alternate = GPIO_AF13_DCMI;
  HAL_GPIO_Init(DCMI_VSYNC_GPIO_Port, &GPIO_InitStruct);

  /*Configure GPIO pin : OTG_FS_OverCurrent_Pin */
  GPIO_InitStruct.Pin = OTG_FS_OverCurrent_Pin;
  GPIO_InitStruct.Mode = GPIO_MODE_INPUT;
  GPIO_InitStruct.Pull = GPIO_NOPULL;
  HAL_GPIO_Init(OTG_FS_OverCurrent_GPIO_Port, &GPIO_InitStruct);

  /*Configure GPIO pin : SDMMC_D0_Pin */
  GPIO_InitStruct.Pin = SDMMC_D0_Pin;
  GPIO_InitStruct.Mode = GPIO_MODE_AF_PP;
  GPIO_InitStruct.Pull = GPIO_NOPULL;
  GPIO_InitStruct.Speed = GPIO_SPEED_FREQ_VERY_HIGH;
  GPIO_InitStruct.Alternate = GPIO_AF12_SDMMC1;
  HAL_GPIO_Init(SDMMC_D0_GPIO_Port, &GPIO_InitStruct);

  /*Configure GPIO pins : TP3_Pin NC2_Pin */
  GPIO_InitStruct.Pin = TP3_Pin|NC2_Pin;
  GPIO_InitStruct.Mode = GPIO_MODE_INPUT;
  GPIO_InitStruct.Pull = GPIO_NOPULL;
  HAL_GPIO_Init(GPIOH, &GPIO_InitStruct);

  /*Configure GPIO pin : ARDUINO_SCK_D13_Pin */
  GPIO_InitStruct.Pin = ARDUINO_SCK_D13_Pin;
  GPIO_InitStruct.Mode = GPIO_MODE_AF_PP;
  GPIO_InitStruct.Pull = GPIO_NOPULL;
  GPIO_InitStruct.Speed = GPIO_SPEED_FREQ_LOW;
  GPIO_InitStruct.Alternate = GPIO_AF5_SPI2;
  HAL_GPIO_Init(ARDUINO_SCK_D13_GPIO_Port, &GPIO_InitStruct);

  /*Configure GPIO pin : DCMI_PWR_EN_Pin */
  GPIO_InitStruct.Pin = DCMI_PWR_EN_Pin;
  GPIO_InitStruct.Mode = GPIO_MODE_OUTPUT_PP;
  GPIO_InitStruct.Pull = GPIO_NOPULL;
  GPIO_InitStruct.Speed = GPIO_SPEED_FREQ_LOW;
  HAL_GPIO_Init(DCMI_PWR_EN_GPIO_Port, &GPIO_InitStruct);

  /*Configure GPIO pins : DCMI_D4_Pin DCMI_D3_Pin DCMI_D0_Pin DCMI_D2_Pin
                           DCMI_D1_Pin */
  GPIO_InitStruct.Pin = DCMI_D4_Pin|DCMI_D3_Pin|DCMI_D0_Pin|DCMI_D2_Pin
                          |DCMI_D1_Pin;
  GPIO_InitStruct.Mode = GPIO_MODE_AF_PP;
  GPIO_InitStruct.Pull = GPIO_NOPULL;
  GPIO_InitStruct.Speed = GPIO_SPEED_FREQ_LOW;
  GPIO_InitStruct.Alternate = GPIO_AF13_DCMI;
  HAL_GPIO_Init(GPIOH, &GPIO_InitStruct);

  /*Configure GPIO pin : ARDUINO_PWM_CS_D5_Pin */
  GPIO_InitStruct.Pin = ARDUINO_PWM_CS_D5_Pin;
  GPIO_InitStruct.Mode = GPIO_MODE_AF_PP;
  GPIO_InitStruct.Pull = GPIO_NOPULL;
  GPIO_InitStruct.Speed = GPIO_SPEED_FREQ_LOW;
  GPIO_InitStruct.Alternate = GPIO_AF2_TIM5;
  HAL_GPIO_Init(ARDUINO_PWM_CS_D5_GPIO_Port, &GPIO_InitStruct);

  /*Configure GPIO pin : VCP_TX_Pin */
  GPIO_InitStruct.Pin = VCP_TX_Pin;
  GPIO_InitStruct.Mode = GPIO_MODE_AF_PP;
  GPIO_InitStruct.Pull = GPIO_NOPULL;
  GPIO_InitStruct.Speed = GPIO_SPEED_FREQ_LOW;
  GPIO_InitStruct.Alternate = GPIO_AF7_USART1;
  HAL_GPIO_Init(VCP_TX_GPIO_Port, &GPIO_InitStruct);

  /*Configure GPIO pin : ARDUINO_PWM_D10_Pin */
  GPIO_InitStruct.Pin = ARDUINO_PWM_D10_Pin;
  GPIO_InitStruct.Mode = GPIO_MODE_AF_PP;
  GPIO_InitStruct.Pull = GPIO_NOPULL;
  GPIO_InitStruct.Speed = GPIO_SPEED_FREQ_LOW;
  GPIO_InitStruct.Alternate = GPIO_AF1_TIM1;
  HAL_GPIO_Init(ARDUINO_PWM_D10_GPIO_Port, &GPIO_InitStruct);

  /*Configure GPIO pin : LCD_INT_Pin */
  GPIO_InitStruct.Pin = LCD_INT_Pin;
  GPIO_InitStruct.Mode = GPIO_MODE_EVT_RISING;
  GPIO_InitStruct.Pull = GPIO_NOPULL;
  HAL_GPIO_Init(LCD_INT_GPIO_Port, &GPIO_InitStruct);

  /*Configure GPIO pins : ARDUINO_RX_D0_Pin ARDUINO_TX_D1_Pin */
  GPIO_InitStruct.Pin = ARDUINO_RX_D0_Pin|ARDUINO_TX_D1_Pin;
  GPIO_InitStruct.Mode = GPIO_MODE_AF_PP;
  GPIO_InitStruct.Pull = GPIO_NOPULL;
  GPIO_InitStruct.Speed = GPIO_SPEED_FREQ_VERY_HIGH;
  GPIO_InitStruct.Alternate = GPIO_AF8_USART6;
  HAL_GPIO_Init(GPIOC, &GPIO_InitStruct);

  /*Configure GPIO pin : ULPI_NXT_Pin */
  GPIO_InitStruct.Pin = ULPI_NXT_Pin;
  GPIO_InitStruct.Mode = GPIO_MODE_AF_PP;
  GPIO_InitStruct.Pull = GPIO_NOPULL;
  GPIO_InitStruct.Speed = GPIO_SPEED_FREQ_VERY_HIGH;
  GPIO_InitStruct.Alternate = GPIO_AF10_OTG_HS;
  HAL_GPIO_Init(ULPI_NXT_GPIO_Port, &GPIO_InitStruct);

  /*Configure GPIO pins : ARDUINO_D4_Pin ARDUINO_D2_Pin EXT_RST_Pin */
  GPIO_InitStruct.Pin = ARDUINO_D4_Pin|ARDUINO_D2_Pin|EXT_RST_Pin;
  GPIO_InitStruct.Mode = GPIO_MODE_OUTPUT_PP;
  GPIO_InitStruct.Pull = GPIO_NOPULL;
  GPIO_InitStruct.Speed = GPIO_SPEED_FREQ_LOW;
  HAL_GPIO_Init(GPIOG, &GPIO_InitStruct);

  /*Configure GPIO pins : ARDUINO_A4_Pin ARDUINO_A5_Pin ARDUINO_A1_Pin ARDUINO_A2_Pin
                           ARDUINO_A3_Pin */
  GPIO_InitStruct.Pin = ARDUINO_A4_Pin|ARDUINO_A5_Pin|ARDUINO_A1_Pin|ARDUINO_A2_Pin
                          |ARDUINO_A3_Pin;
  GPIO_InitStruct.Mode = GPIO_MODE_ANALOG;
  GPIO_InitStruct.Pull = GPIO_NOPULL;
  HAL_GPIO_Init(GPIOF, &GPIO_InitStruct);

  /*Configure GPIO pins : ULPI_STP_Pin ULPI_DIR_Pin */
  GPIO_InitStruct.Pin = ULPI_STP_Pin|ULPI_DIR_Pin;
  GPIO_InitStruct.Mode = GPIO_MODE_AF_PP;
  GPIO_InitStruct.Pull = GPIO_NOPULL;
  GPIO_InitStruct.Speed = GPIO_SPEED_FREQ_VERY_HIGH;
  GPIO_InitStruct.Alternate = GPIO_AF10_OTG_HS;
  HAL_GPIO_Init(GPIOC, &GPIO_InitStruct);

  /*Configure GPIO pins : RMII_MDC_Pin RMII_RXD0_Pin RMII_RXD1_Pin */
  GPIO_InitStruct.Pin = RMII_MDC_Pin|RMII_RXD0_Pin|RMII_RXD1_Pin;
  GPIO_InitStruct.Mode = GPIO_MODE_AF_PP;
  GPIO_InitStruct.Pull = GPIO_NOPULL;
  GPIO_InitStruct.Speed = GPIO_SPEED_FREQ_VERY_HIGH;
  GPIO_InitStruct.Alternate = GPIO_AF11_ETH;
  HAL_GPIO_Init(GPIOC, &GPIO_InitStruct);

  /*Configure GPIO pin : PB2 */
  GPIO_InitStruct.Pin = GPIO_PIN_2;
  GPIO_InitStruct.Mode = GPIO_MODE_AF_PP;
  GPIO_InitStruct.Pull = GPIO_NOPULL;
  GPIO_InitStruct.Speed = GPIO_SPEED_FREQ_VERY_HIGH;
  GPIO_InitStruct.Alternate = GPIO_AF9_QUADSPI;
  HAL_GPIO_Init(GPIOB, &GPIO_InitStruct);

  /*Configure GPIO pins : QSPI_D1_Pin QSPI_D3_Pin QSPI_D0_Pin */
  GPIO_InitStruct.Pin = QSPI_D1_Pin|QSPI_D3_Pin|QSPI_D0_Pin;
  GPIO_InitStruct.Mode = GPIO_MODE_AF_PP;
  GPIO_InitStruct.Pull = GPIO_NOPULL;
  GPIO_InitStruct.Speed = GPIO_SPEED_FREQ_VERY_HIGH;
  GPIO_InitStruct.Alternate = GPIO_AF9_QUADSPI;
  HAL_GPIO_Init(GPIOD, &GPIO_InitStruct);

  /*Configure GPIO pin : RMII_RXER_Pin */
  GPIO_InitStruct.Pin = RMII_RXER_Pin;
  GPIO_InitStruct.Mode = GPIO_MODE_INPUT;
  GPIO_InitStruct.Pull = GPIO_NOPULL;
  HAL_GPIO_Init(RMII_RXER_GPIO_Port, &GPIO_InitStruct);

  /*Configure GPIO pins : RMII_REF_CLK_Pin RMII_MDIO_Pin RMII_CRS_DV_Pin */
  GPIO_InitStruct.Pin = RMII_REF_CLK_Pin|RMII_MDIO_Pin|RMII_CRS_DV_Pin;
  GPIO_InitStruct.Mode = GPIO_MODE_AF_PP;
  GPIO_InitStruct.Pull = GPIO_NOPULL;
  GPIO_InitStruct.Speed = GPIO_SPEED_FREQ_VERY_HIGH;
  GPIO_InitStruct.Alternate = GPIO_AF11_ETH;
  HAL_GPIO_Init(GPIOA, &GPIO_InitStruct);

  /*Configure GPIO pin : ARDUINO_A0_Pin */
  GPIO_InitStruct.Pin = ARDUINO_A0_Pin;
  GPIO_InitStruct.Mode = GPIO_MODE_ANALOG;
  GPIO_InitStruct.Pull = GPIO_NOPULL;
  HAL_GPIO_Init(ARDUINO_A0_GPIO_Port, &GPIO_InitStruct);

  /*Configure GPIO pins : DCMI_HSYNC_Pin PA6 */
  GPIO_InitStruct.Pin = DCMI_HSYNC_Pin|GPIO_PIN_6;
  GPIO_InitStruct.Mode = GPIO_MODE_AF_PP;
  GPIO_InitStruct.Pull = GPIO_NOPULL;
  GPIO_InitStruct.Speed = GPIO_SPEED_FREQ_LOW;
  GPIO_InitStruct.Alternate = GPIO_AF13_DCMI;
  HAL_GPIO_Init(GPIOA, &GPIO_InitStruct);

  /*Configure GPIO pins : LCD_SCL_Pin LCD_SDA_Pin */
  GPIO_InitStruct.Pin = LCD_SCL_Pin|LCD_SDA_Pin;
  GPIO_InitStruct.Mode = GPIO_MODE_AF_OD;
  GPIO_InitStruct.Pull = GPIO_NOPULL;
  GPIO_InitStruct.Speed = GPIO_SPEED_FREQ_VERY_HIGH;
  GPIO_InitStruct.Alternate = GPIO_AF4_I2C3;
  HAL_GPIO_Init(GPIOH, &GPIO_InitStruct);

  /*Configure GPIO pins : ULPI_CLK_Pin ULPI_D0_Pin */
  GPIO_InitStruct.Pin = ULPI_CLK_Pin|ULPI_D0_Pin;
  GPIO_InitStruct.Mode = GPIO_MODE_AF_PP;
  GPIO_InitStruct.Pull = GPIO_NOPULL;
  GPIO_InitStruct.Speed = GPIO_SPEED_FREQ_VERY_HIGH;
  GPIO_InitStruct.Alternate = GPIO_AF10_OTG_HS;
  HAL_GPIO_Init(GPIOA, &GPIO_InitStruct);

  /*Configure GPIO pin : ARDUINO_PWM_D6_Pin */
  GPIO_InitStruct.Pin = ARDUINO_PWM_D6_Pin;
  GPIO_InitStruct.Mode = GPIO_MODE_AF_PP;
  GPIO_InitStruct.Pull = GPIO_NOPULL;
  GPIO_InitStruct.Speed = GPIO_SPEED_FREQ_LOW;
  GPIO_InitStruct.Alternate = GPIO_AF9_TIM12;
  HAL_GPIO_Init(ARDUINO_PWM_D6_GPIO_Port, &GPIO_InitStruct);

  /*Configure GPIO pins : ARDUINO_MISO_D12_Pin ARDUINO_MOSI_PWM_D11_Pin */
  GPIO_InitStruct.Pin = ARDUINO_MISO_D12_Pin|ARDUINO_MOSI_PWM_D11_Pin;
  GPIO_InitStruct.Mode = GPIO_MODE_AF_PP;
  GPIO_InitStruct.Pull = GPIO_NOPULL;
  GPIO_InitStruct.Speed = GPIO_SPEED_FREQ_LOW;
  GPIO_InitStruct.Alternate = GPIO_AF5_SPI2;
  HAL_GPIO_Init(GPIOB, &GPIO_InitStruct);

}

void Error_Handler(void)
{
  __disable_irq();
  while (1)
  {
  }
}

/************************ (C) COPYRIGHT STMicroelectronics *****END OF FILE****/
